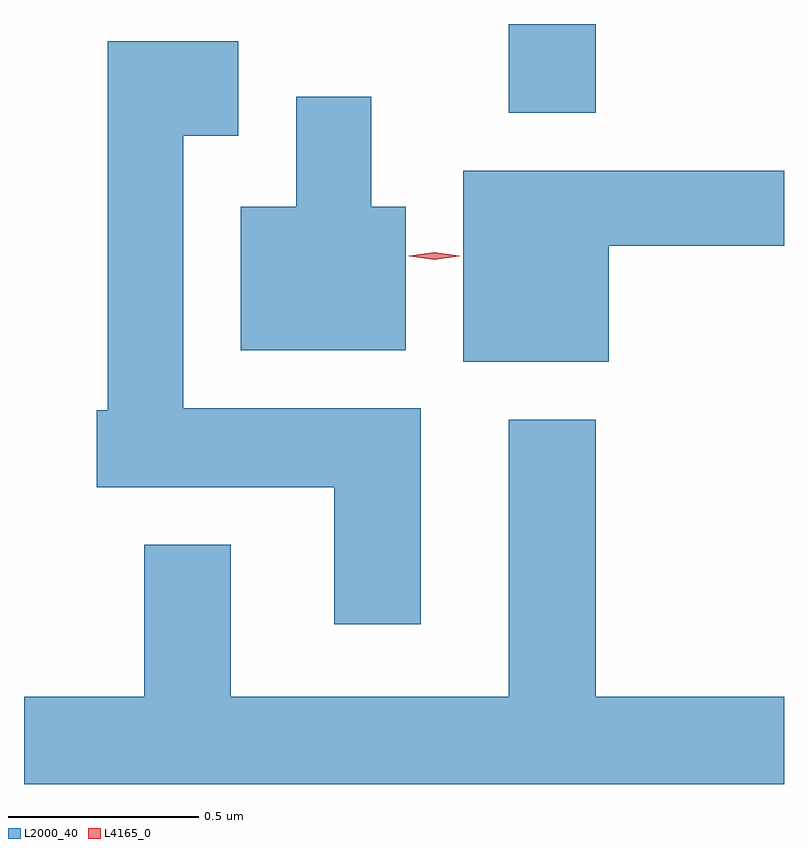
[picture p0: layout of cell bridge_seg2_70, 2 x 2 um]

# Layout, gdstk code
import gdstk
lib = gdstk.Library(unit=1e-6, precision=1e-09)
def R(c, l, rs):  # rectangles x0, y0, x1, y1
    for r in rs: c.add(gdstk.rectangle(r[:2], r[2:], *l))
def P(c, l, *ps):  # polygons
    for p in ps: c.add(gdstk.Polygon(p, *l))
L2000_40 = (2000, 40)
L4165_0 = (4165, 0)

bridge_seg2_70 = lib.new_cell('bridge_seg2_70')
R(bridge_seg2_70, L2000_40, [(1097.321,1067.881,1097.549,1068.115)])
P(bridge_seg2_70, L2000_40, [(1097.089,1067.104),(1096.464,1067.104),(1096.464,1067.821),(1096.609,1067.821),(1096.609,1068.069),(1096.266,1068.069),(1096.266,1067.099),(1096.236,1067.099),(1096.236,1066.896),(1096.861,1066.896),(1096.861,1066.536),(1097.089,1066.536)],
  [(1097.049,1067.634),(1096.959,1067.634),(1096.959,1067.924),(1096.761,1067.924),(1096.761,1067.634),(1096.616,1067.634),(1096.616,1067.256),(1097.049,1067.256)],
  [(1097.584,1067.531),(1098.045,1067.531),(1098.045,1067.729),(1097.201,1067.729),(1097.201,1067.226),(1097.584,1067.226)],
  [(1098.045,1066.344),(1097.549,1066.344),(1097.549,1067.074),(1097.321,1067.074),(1097.321,1066.344),(1096.589,1066.344),(1096.589,1066.744),(1096.361,1066.744),(1096.361,1066.344),(1096.045,1066.344),(1096.045,1066.115),(1098.045,1066.115)])
P(bridge_seg2_70, L4165_0, [(1097.124,1067.495),(1097.059,1067.504),(1097.058,1067.505),(1097.059,1067.505),(1097.124,1067.515),(1097.19,1067.505),(1097.191,1067.505),(1097.19,1067.504)])

lib.write_gds('bridge_seg2_70.gds')
